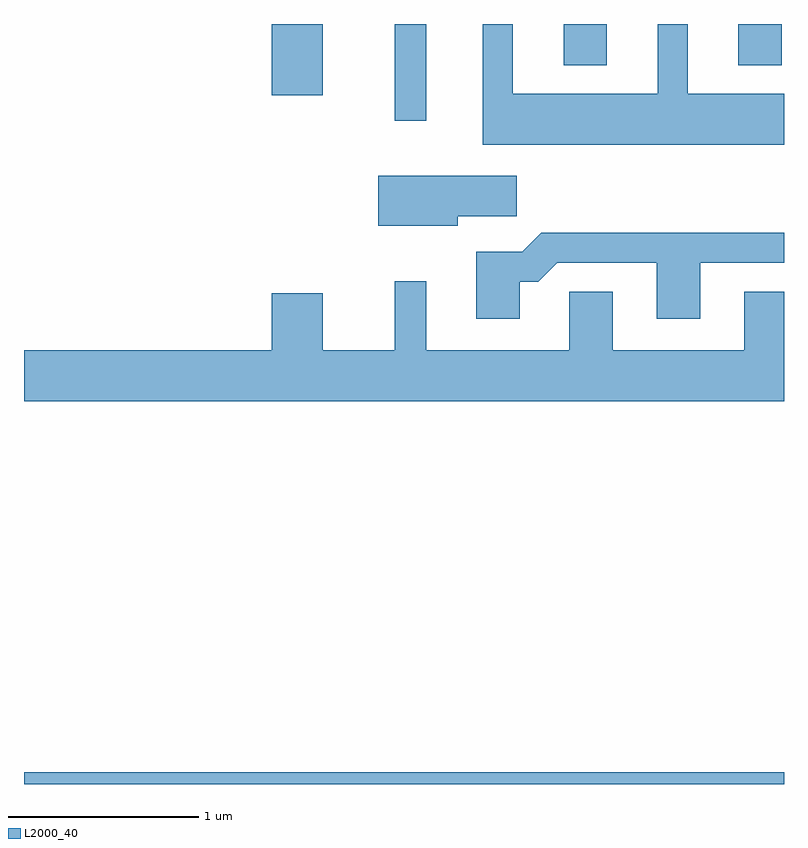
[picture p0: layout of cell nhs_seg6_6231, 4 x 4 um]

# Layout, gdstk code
import gdstk
lib = gdstk.Library(unit=1e-6, precision=1e-09)
def R(c, l, rs):  # rectangles x0, y0, x1, y1
    for r in rs: c.add(gdstk.rectangle(r[:2], r[2:], *l))
def P(c, l, *ps):  # polygons
    for p in ps: c.add(gdstk.Polygon(p, *l))
L2000_40 = (2000, 40)

nhs_seg6_6231 = lib.new_cell('nhs_seg6_6231')
R(nhs_seg6_6231, L2000_40, [(373.611,1630.162,377.611,1630.224), (375.561,1633.653,375.729,1634.162), (374.916,1633.786,375.184,1634.162), (376.451,1633.946,376.679,1634.162), (377.371,1633.946,377.599,1634.162)])
P(nhs_seg6_6231, L2000_40, [(377.611,1633.794),(377.104,1633.794),(377.104,1634.162),(376.946,1634.162),(376.946,1633.794),(376.184,1633.794),(376.184,1634.162),(376.026,1634.162),(376.026,1633.526),(377.611,1633.526)],
  [(375.894,1633.151),(376.204,1633.151),(376.204,1633.364),(375.476,1633.364),(375.476,1633.101),(375.894,1633.101)],
  [(376.219,1632.806),(376.317,1632.806),(376.417,1632.906),(376.941,1632.906),(376.941,1632.611),(377.169,1632.611),(377.169,1632.906),(377.611,1632.906),(377.611,1633.064),(376.334,1633.064),(376.234,1632.964),(375.991,1632.964),(375.991,1632.611),(376.219,1632.611)],
  [(377.611,1632.754),(377.401,1632.754),(377.401,1632.444),(376.709,1632.444),(376.709,1632.754),(376.481,1632.754),(376.481,1632.444),(375.729,1632.444),(375.729,1632.808),(375.561,1632.808),(375.561,1632.444),(375.184,1632.444),(375.184,1632.744),(374.916,1632.744),(374.916,1632.444),(373.611,1632.444),(373.611,1632.176),(377.611,1632.176)])

lib.write_gds('nhs_seg6_6231.gds')
